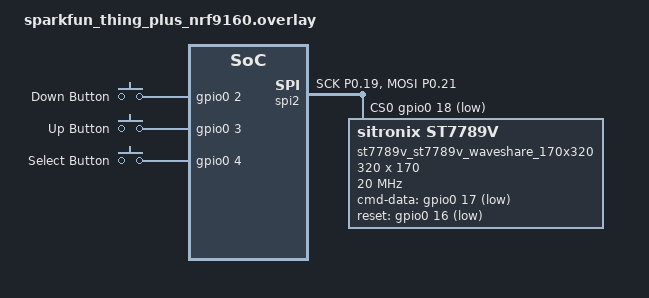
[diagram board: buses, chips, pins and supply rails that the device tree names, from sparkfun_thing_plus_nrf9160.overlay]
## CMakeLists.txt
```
# SPDX-License-Identifier: Apache-2.0

cmake_minimum_required(VERSION 3.13.1)

find_package(Zephyr HINTS $ENV{ZEPHYR_BASE})
project(orecart)

target_sources(
    app PRIVATE ${CMAKE_CURRENT_SOURCE_DIR}/src/main.cpp

    app PRIVATE ${CMAKE_CURRENT_SOURCE_DIR}/src/modules/net/stack/API.cpp
    app PRIVATE ${CMAKE_CURRENT_SOURCE_DIR}/src/modules/net/stack/HTTP.cpp
    app PRIVATE ${CMAKE_CURRENT_SOURCE_DIR}/src/modules/net/stack/Modem.cpp

    app PRIVATE ${CMAKE_CURRENT_SOURCE_DIR}/src/modules/net/events/net_task_event.c

    app PRIVATE ${CMAKE_CURRENT_SOURCE_DIR}/src/modules/net/net_module.cpp
    app PRIVATE ${CMAKE_CURRENT_SOURCE_DIR}/src/modules/net/NetWorker.cpp

    app PRIVATE ${CMAKE_CURRENT_SOURCE_DIR}/src/modules/ui/canvas/DisplayCanvas.cpp    
)
```

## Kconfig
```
menu "OreCart Hardware"

# config SAMPLE_TFM_MBEDTLS
# 	bool "Use TF-M and MbedTLS"
# 	help
# 	  Use TF-M and MbedTLS in this sample instead of using
# 	  the offloaded TLS stack in the modem.

endmenu

menu "Zephyr Kernel"
source "Kconfig.zephyr"
endmenu
```

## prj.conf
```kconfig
CONFIG_CPP=y
CONFIG_CPP_EXCEPTIONS=y

CONFIG_GPIO=y

# Enable Zephyr application to be booted by MCUboot
CONFIG_BOOTLOADER_MCUBOOT=y

CONFIG_NETWORKING=y
CONFIG_NET_SOCKETS_OFFLOAD=y
CONFIG_NET_SOCKETS=y
CONFIG_NET_SOCKETS_POSIX_NAMES=y

CONFIG_GLIBCXX_LIBCPP=y
CONFIG_STD_CPP20=y
CONFIG_UART_INTERRUPT_DRIVEN=y
CONFIG_DISPLAY=y
CONFIG_SPI=y

CONFIG_LTE_LINK_CONTROL=y
CONFIG_LTE_EDRX_REQ=y
CONFIG_LTE_EDRX_REQ_VALUE_LTE_M="0000"
CONFIG_NRF_MODEM_LIB=y
CONFIG_AT_HOST_LIBRARY=y
CONFIG_APP_EVENT_MANAGER=y
CONFIG_PDN=y
CONFIG_PDN_ESM_STRERROR=y

CONFIG_CHARACTER_FRAMEBUFFER=y
CONFIG_CHARACTER_FRAMEBUFFER_USE_DEFAULT_FONTS=y
```

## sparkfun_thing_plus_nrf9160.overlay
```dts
/ {
	chosen {
		zephyr,display = &st7789v_st7789v_waveshare_170x320;
	};

    aliases {
        downbutton = &button0;
        upbutton = &button1;
        selectbutton = &button2;
    };

    buttons {
        compatible = "gpio-keys";
        button0: button_0 {
            gpios = <&gpio0 2 GPIO_ACTIVE_HIGH>;
            label = "Down Button";
        };
        button1: button_1 {
            gpios = <&gpio0 3 GPIO_ACTIVE_HIGH>;
            label = "Up Button";
        };
        button2: button_2 {
            gpios = <&gpio0 4 GPIO_ACTIVE_HIGH>;
            label = "Select Button";
        };
    };
};

&spi2 {
    status = "okay";
    cs-gpios = <&gpio0 18 GPIO_ACTIVE_LOW>;
    pinctrl-0 = <&spi2_default>;
    pinctrl-1 = <&spi2_sleep>;
    pinctrl-names = "default", "sleep";
    st7789v_st7789v_waveshare_170x320: st7789v@0 {
        compatible = "sitronix,st7789v";
		spi-max-frequency = <20000000>;
		reg = <0>;
		cmd-data-gpios = <&gpio0 17 GPIO_ACTIVE_LOW>;
		reset-gpios = <&gpio0 16 GPIO_ACTIVE_LOW>;
		width = <320>;
		height = <170>;
		x-offset = <0>;
		y-offset = <35>;
		vcom = <0x2b>;
		gctrl = <0x35>;
		vrhs = <0x0f>;
		vdvs = <0x20>;
		mdac = <0x60>;
		gamma = <0x01>;
		colmod = <0x55>;
		lcm = <0x2c>;
		porch-param = [0c 0c 00 33 33];
		cmd2en-param = [5a 69 02 01];
		pwctrl1-param = [52 a1];
		pvgam-param = [D0 00 02 07 0B 1A 31 54 40 29 12 12 12 17];
		nvgam-param = [D0 00 02 07 05 15 2D 44 44 1C 18 16 1C 1D];
		ram-param = [00 F8];
		rgb-param = [CD 08 14];
    };
};

&pinctrl {
    spi2_default: spi2_default {
        group1 {
            psels = <NRF_PSEL(SPIM_SCK, 0, 19)>,
                    <NRF_PSEL(SPIM_MOSI, 0, 21)>;
        };
    };
    spi2_sleep: spi2_sleep {
        group1 {
            psels = <NRF_PSEL(SPIM_SCK, 0, 19)>,
                    <NRF_PSEL(SPIM_MOSI, 0, 21)>;
            low-power-enable;
        };
    };
};

// Display pins:
// DC on GPIO 17
// RST on GPIO 16
// BL on GPIO 15
```

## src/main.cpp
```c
#include <zephyr/kernel.h>
#include <array>

#include "modules/net/net_module.hpp"
#include "modules/ui/canvas/Glyph.hpp"
#include "modules/ui/canvas/DisplayCanvas.hpp"
#include "modules/ui/canvas/SubCanvas.hpp"

int main()
{
    net::start();
    net::begin_tracking(0);
    
    std::shared_ptr<ICanvas<2>> canvas = std::make_shared<DisplayCanvas>();
    Glyph<2, 2, 2> glyph = { { 1, 1, 0, 0, 1, 1, 0, 0 } };
    glyph.draw(*canvas, 0, 0); // This should draw the glyph at (0, 0)

    std::unique_ptr<ICanvas<2>> sub = std::make_unique<SubCanvas<2>>(canvas, 16, 16, 2, 2);
    glyph.draw(*canvas, 0, 0); // This should draw the glyph at (16, 16)

    while (1) {
        k_sleep(K_FOREVER);
    }
}
```

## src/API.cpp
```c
#include "API.hpp"

#include <memory>
#include <algorithm>
#include <sstring>

API::API(std::shared_ptr<Modem> modem, std::unique_ptr<HTTP> http, std::string_view van_guid)
    : http(std::move(http)), modem(modem), van_guid(van_guid) {}

void API::send_route_selection(const int route_id) const {
    std::int32_t id = static_cast<std::int32_t>(route_id);
    std::vector<char> body(sizeof(route_id));
    std::copy_n(reinterpret_cast<const char*>(&id), sizeof(route_id), body.begin());

    std::stringstream route;
    route << "/vans/routeselect/" << van_guid << "/";
    std::vector<char> packet = http->post(route, body);
    modem->send(packet);
}

void API::send_location(const Location& location) const {
    std::int64_t timestamp_ms = static_cast<std::int64_t>(location.timestamp) * 1000;
    double lat = location.coord.latitude;
    double lon = location.coord.longitude;

    std::vector<char> body;
    body.reserve(sizeof(timestamp_ms) + sizeof(lat) + sizeof(lon));

    auto iter = body.begin();
    iter = std::copy_n(reinterpret_cast<const char*>(&timestamp_ms), sizeof(timestamp_ms), iter);
    iter = std::copy_n(reinterpret_cast<const char*>(&lat), sizeof(lat), iter);
    iter = std::copy_n(reinterpret_cast<const char*>(&lon), sizeof(lon), iter);   

    std::ostringstream route;
    route << "/vans/location/" << van_guid << "/";
    std::vector<char> packet = http->post(route, body);
    modem->send(packet);
}
```

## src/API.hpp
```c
#pragma once

#include <string_view>
#include <vector>
#include <memory>

#include "HTTP.hpp"
#include "Modem.hpp"

class API
{
public:
    API(std::shared_ptr<Modem> modem, std::unique_ptr<HTTP> http, std::string_view van_guid);

    void send_route_selection(const int route_id) const;
    void send_location(const Location &location) const;

private:
    std::unique_ptr<HTTP> http;
    std::shared_ptr<Modem> modem;
    std::string_view van_guid;
};
```

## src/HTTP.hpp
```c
#pragma once

#include <string_view>
#include <vector>

class HTTP
{
public:
    HTTP();
    std::vector<char> get(const std::string_view route, const std::vector<char> &body) const;
    std::vector<char> post(const std::string_view route, const std::vector<char> &body) const;

private:
    std::string_view build_header(const std::string_view &method, const std::string_view route, const size_t contentLength) const;
    std::vector<char> construct_packet(const std::string_view &header, const std::vector<char> &body) const;
};
```

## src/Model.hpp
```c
#pragma once

struct Coordinate {
    double latitude;
    double longitude;
};
```

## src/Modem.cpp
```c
#include <memory>
#include <stdexcept>
#include <string_view>
#include <vector>
#include <optional>

#include <modem/lte_lc.h>
#include <modem/nrf_modem_lib.h>
#include <nrf_modem.h>
#include <nrf_modem_gnss.h>
#include <nrf_socket.h>

#include "Modem.hpp"

// Use a PIMPL struct here so we can fully hide all of the modem-specific types
// required.
struct Modem::ModemImpl
{
    std::unique_ptr<nrf_addrinfo, decltype(&nrf_freeaddrinfo)> addr;
    int socket;
    Speed speed;
};

// Here's more or less the issue with the NRF modem: It uses the same antenna to
// connect GNSS and connect to LTE, which requires it to alternate between the
// two services in periods we call "windows" for simplicity. This in turn
// requires us to make locks that we can block on until we can definitively make
// sure we are in the correct window required to connect to LTE or GNSS. Hence,
// this semaphore struct.
static struct
{
    k_sem lte;
    k_sem gnss;
} modem_lock;

// A total window cycle will run for 5.12s, split evenly between LTE and GNSS,
// UNLESS LTE still has data to send, in which it's window will bleed over and
// deny GNSS connectivity for the entire window cycle.
#define MODEM_WINDOW_SIZE K_MSEC((1 << 9) * 10)

static void lte_event_handler(const lte_lc_evt *const evt)
{
    if (evt->type != LTE_LC_EVT_RRC_UPDATE)
    {
        // Not a LTE window update, ignore
        return;
    }
    if (evt->rrc_mode == LTE_LC_RRC_MODE_CONNECTED)
    {
        // Connected to LTE network, can't use GNSS
        k_sem_give(&modem_lock.lte);
        k_sem_reset(&modem_lock.gnss);
    }
    else
    {
        // Disconnected from LTE network, can use GNSS
        k_sem_give(&modem_lock.gnss);
        k_sem_reset(&modem_lock.lte);
    }
}

static nrf_modem_gnss_pvt_data_frame pvt;
static Coordinate location;

static void gnss_event_handler(int event)
{
    if (event != NRF_MODEM_GNSS_EVT_PVT)
    {
        // Not a GNSS update, don't care
        return;
    }
    nrf_modem_gnss_read(&pvt, sizeof(pvt), NRF_MODEM_GNSS_DATA_PVT);
    if ((pvt.flags & NRF_MODEM_GNSS_PVT_FLAG_FIX_VALID) == 0)
    {
        // We aren't in the GNSS window, do nothing
        return;
    }
    location.latitude = pvt.latitude;
    location.longitude = pvt.longitude;
}

Modem::Modem(const std::string_view domain)
{
    // Modem library initialization.
    if (nrf_modem_is_initialized())
    {
        throw std::logic_error("Only one Modem can exist at a time");
    }
    nrf_modem_lib_init();

    // Lock initialization
    k_sem_init(&modem_lock.lte, 0, 1);
    k_sem_init(&modem_lock.gnss, 0, 1);
    // lte_lc_connect_async adds a handler before connecting, so presumably so
    // can we. Assume the same for GNSS.
    lte_lc_register_handler(&lte_event_handler);
    nrf_modem_gnss_event_handler_set(&gnss_event_handler);

    // LTE & GNSS initialization
    lte_lc_connect();
    lte_lc_func_mode_set(LTE_LC_FUNC_MODE_ACTIVATE_LTE);
    lte_lc_func_mode_set(LTE_LC_FUNC_MODE_ACTIVATE_GNSS);

    // Domain resolution
    const nrf_addrinfo hints{.ai_family = NRF_AF_INET,
                             .ai_socktype = NRF_SOCK_STREAM};
    nrf_addrinfo *res;
    const int err = nrf_getaddrinfo(domain.data(), nullptr, &hints, &res);
    if (err != 0)
    {
        throw std::runtime_error("Failed to resolve domain address, error: " +
                                 std::to_string(err));
    }

    // Socket and data initialization.
    std::unique_ptr<nrf_addrinfo, decltype(&nrf_freeaddrinfo)> addr{
        res, nrf_freeaddrinfo};
    const int socket = nrf_socket(NRF_AF_INET, NRF_SOCK_STREAM, NRF_IPPROTO_TCP);
    const Speed speed = Speed::NORMAL; // This will be the default socket speed.
    this->data = std::make_unique<ModemImpl>(std::move(addr), socket, speed);
}

Modem::~Modem()
{
    lte_lc_deregister_handler(&lte_event_handler);
    nrf_modem_gnss_event_handler_set(nullptr);
    nrf_close(data->socket);
    nrf_modem_lib_shutdown();
}

#define NRF_SO_RAI 61

std::optional<std::vector<char>> Modem::send(const std::vector<char> &packet, const Speed speed)
{
    if (data->speed != speed) {
        int option;
        if (speed == Speed::YEET)
        {
            // This indicates that we will send just one packet of data and then
            // disconnect, which prevents the LTE window from bleeding into the GNSS
            // window and delaying location pinging. This allows for the fastest
            // possible operation of the Modem.
            option = NRF_SO_RAI_LAST;
        }
        else
        {
            // This indicates that we intend to send more data, and so the window may be
            // extended into the GNSS window.
            option = NRF_SO_RAI_ONGOING;
        }
        const int err = nrf_setsockopt(data->socket, NRF_SOL_SECURE, NRF_SO_RAI,
                                    &option, sizeof(option));
        if (err != 0)
        {
            throw std::runtime_error("Failed to set NRF_SO_RAI option, error: " +
                                    std::to_string(err));
        }
        data->speed = speed;
    }

    int res;
    // Block until our LTE window is available. We shouldn't need to wait longer
    // than the entire window size.
    res = k_sem_take(&modem_lock.lte, MODEM_WINDOW_SIZE);
    if (res != 0)
    {
        throw std::runtime_error("Failed to obtain LTE window, error: " +
                                 std::to_string(res));
    }
    // We are on LTE now, send the packet.
    res = nrf_sendto(data->socket, packet.data(), packet.size(), 0,
                     data->addr->ai_addr, data->addr->ai_addrlen);
    if (res < 0)
    {
        throw std::runtime_error(
            "Failed to send TCP packet, error: " +
            std::to_string(res));
    }

    if (data->speed == Speed::NORMAL)
    {
        // TODO: One day 1024 bytes my not actually be enough
        std::vector<char> resp = std::vector<char>(1 << 10);
        const int size = sizeof(data->addr);
        res = nrf_recvfrom(data->socket, resp.data(), resp.size(), 0, data->addr->ai_addr, &data->addr->ai_addrlen);
        if (res < 0)
        {
            throw std::runtime_error(
                "Failed to recieve TCP response, error: " +
                std::to_string(res));
        }
        return std::move(resp);
    }

    return {};
}

Coordinate Modem::locate() const
{
    int err;
    // Block until our GNSS window is available.
    err = k_sem_take(&modem_lock.gnss, MODEM_WINDOW_SIZE);
    if (err != 0)
    {
        throw std::runtime_error("Failed to obtain GNSS window, error: " +
                                 std::to_string(err));
    }
    // Then let GNSS data collect until the window is over.
    err = k_sem_take(&modem_lock.lte, MODEM_WINDOW_SIZE);
    if (err != 0)
    {
        throw std::runtime_error("Failed to finish GNSS window, error: " +
                                 std::to_string(err));
    }
    // Whatever location was collected will be set to the static variable and
    // should be completely up-to-date.
    return location;
}
```

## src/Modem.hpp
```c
#pragma once

#include <memory>
#include <string_view>
#include <optional>
#include <vector>

#include "Location.hpp"

/**
 * An abstraction around the NRF9160 modem that provides optimized and guaranteed
 * LTE and GNSS communication. Only one instance can exist at a time, so share it
 * with a smart pointer.
 * @author Alexander Capehart, Dorian Cauwe
 */
class Modem
{
public:
    /**
     * Controls the pace in which packets will be sent over lte.
     */
    enum Speed
    {
        /**
         * Ensure the packet is sent and a response recieved. May delay connecting to GNSS.
         */
        NORMAL,

        /**
         * Just yeet the packet into the void, don't even expect a response. Will ensure that
         * connecting to GNSS will be as fast as possible.
         */
        YEET
    };

    /**
     * Create a new and internally activate the Modem.
     * @param domain The domain for the Modem to resolve and connect to,
     * @throws std::logic_error if there is already a Modem instance.
     * @throws std::runtime_error if the domain cannot be resolved.
     */
    Modem(const std::string_view domain);
    ~Modem();

    /**
     * Send a packet over LTE to the server at the specified domain. Will block for at most 5 seconds
     * until the Modem is connected to the LTE network.
     *
     * @param packet the packet to send
     * @param speed the speed to send the packet
     * @throws std::runtime_error if the packet was not sent
     */
    std::optional<std::vector<char>> send(const std::vector<char> &packet, const Speed speed);

    /**
     * Poll and then return the current location from GNSS. Will block for at most 5 seconds to ensure
     * the Modem connects to GNSS and polls as many location updates as possible.
     *
     * @return The last polled Coordinate from GNSS.
     */
    Coordinate locate() const;

private:
    struct ModemImpl;
    std::unique_ptr<ModemImpl> data;
};
```
